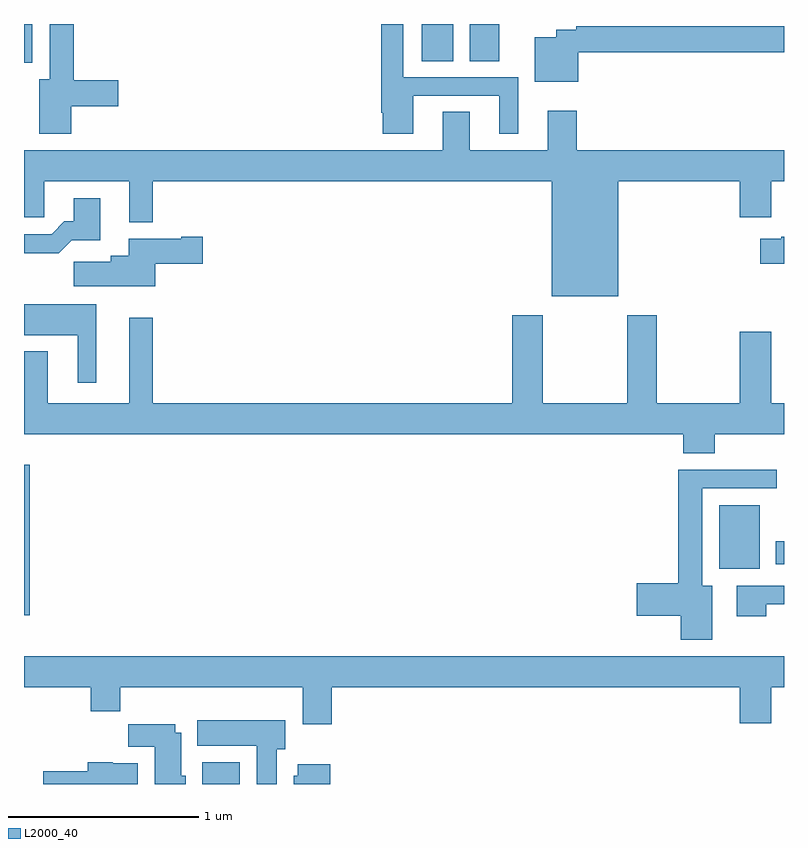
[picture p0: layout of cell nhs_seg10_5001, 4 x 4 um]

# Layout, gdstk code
import gdstk
lib = gdstk.Library(unit=1e-6, precision=1e-09)
def R(c, l, rs):  # rectangles x0, y0, x1, y1
    for r in rs: c.add(gdstk.rectangle(r[:2], r[2:], *l))
def P(c, l, *ps):  # polygons
    for p in ps: c.add(gdstk.Polygon(p, *l))
L2000_40 = (2000, 40)

nhs_seg10_5001 = lib.new_cell('nhs_seg10_5001')
R(nhs_seg10_5001, L2000_40, [(401.939,1274.5,402.136,1274.614), (401,1275.389,401.029,1276.18), (404.66,1275.632,404.872,1275.967), (404.957,1275.656,405,1275.778), (401,1278.296,401.044,1278.5), (403.094,1278.304,403.258,1278.5), (403.346,1278.304,403.501,1278.5)])
P(nhs_seg10_5001, L2000_40, [(401.248,1278.068),(401.497,1278.068),(401.497,1278.203),(401.261,1278.203),(401.261,1278.5),(401.135,1278.5),(401.135,1278.208),(401.081,1278.208),(401.081,1277.922),(401.248,1277.922)],
  [(403.048,1278.123),(403.502,1278.123),(403.502,1277.922),(403.6,1277.922),(403.6,1278.219),(402.996,1278.219),(402.996,1278.5),(402.88,1278.5),(402.88,1278.034),(402.887,1278.034),(402.887,1277.922),(403.048,1277.922)],
  [(403.918,1278.352),(405,1278.352),(405,1278.488),(403.906,1278.488),(403.906,1278.469),(403.802,1278.469),(403.802,1278.43),(403.688,1278.43),(403.688,1278.197),(403.918,1278.197)],
  [(404.128,1277.672),(404.768,1277.672),(404.768,1277.484),(404.932,1277.484),(404.932,1277.672),(405,1277.672),(405,1277.836),(403.91,1277.836),(403.91,1278.043),(403.757,1278.043),(403.757,1277.836),(403.345,1277.836),(403.345,1278.038),(403.205,1278.038),(403.205,1277.836),(401,1277.836),(401,1277.482),(401.106,1277.482),(401.106,1277.672),(401.555,1277.672),(401.555,1277.456),(401.677,1277.456),(401.677,1277.672),(403.778,1277.672),(403.778,1277.066),(404.128,1277.066)],
  [(401.252,1277.363),(401.401,1277.363),(401.401,1277.584),(401.261,1277.584),(401.261,1277.461),(401.212,1277.461),(401.145,1277.394),(401,1277.394),(401,1277.294),(401.183,1277.294)],
  [(405,1277.379),(404.986,1277.379),(404.986,1277.371),(404.874,1277.371),(404.874,1277.237),(405,1277.237)],
  [(401.692,1277.237),(401.941,1277.237),(401.941,1277.379),(401.828,1277.379),(401.828,1277.371),(401.552,1277.371),(401.552,1277.281),(401.456,1277.281),(401.456,1277.249),(401.262,1277.249),(401.262,1277.12),(401.692,1277.12)],
  [(401.38,1277.026),(401,1277.026),(401,1276.862),(401.282,1276.862),(401.282,1276.611),(401.38,1276.611)],
  [(404.471,1276.241),(404.636,1276.241),(404.636,1276.34),(405,1276.34),(405,1276.504),(404.932,1276.504),(404.932,1276.879),(404.768,1276.879),(404.768,1276.504),(404.331,1276.504),(404.331,1276.966),(404.176,1276.966),(404.176,1276.504),(403.731,1276.504),(403.731,1276.966),(403.571,1276.966),(403.571,1276.504),(401.677,1276.504),(401.677,1276.954),(401.555,1276.954),(401.555,1276.504),(401.125,1276.504),(401.125,1276.777),(401,1276.777),(401,1276.34),(404.471,1276.34)],
  [(404.623,1275.544),(404.569,1275.544),(404.569,1276.056),(404.962,1276.056),(404.962,1276.154),(404.444,1276.154),(404.444,1275.557),(404.226,1275.557),(404.226,1275.386),(404.456,1275.386),(404.456,1275.258),(404.623,1275.258)],
  [(404.907,1275.447),(405,1275.447),(405,1275.543),(404.751,1275.543),(404.751,1275.384),(404.907,1275.384)],
  [(402.62,1275.008),(404.768,1275.008),(404.768,1274.82),(404.932,1274.82),(404.932,1275.008),(405,1275.008),(405,1275.172),(401,1275.172),(401,1275.008),(401.351,1275.008),(401.351,1274.884),(401.507,1274.884),(401.507,1275.008),(402.467,1275.008),(402.467,1274.814),(402.62,1274.814)],
  [(402.331,1274.682),(402.376,1274.682),(402.376,1274.836),(401.912,1274.836),(401.912,1274.702),(402.224,1274.702),(402.224,1274.5),(402.331,1274.5)],
  [(401.851,1274.544),(401.827,1274.544),(401.827,1274.77),(401.797,1274.77),(401.797,1274.815),(401.548,1274.815),(401.548,1274.696),(401.687,1274.696),(401.687,1274.5),(401.851,1274.5)],
  [(401.599,1274.608),(401.466,1274.608),(401.466,1274.614),(401.336,1274.614),(401.336,1274.568),(401.1,1274.568),(401.1,1274.5),(401.599,1274.5)],
  [(402.611,1274.605),(402.44,1274.605),(402.44,1274.544),(402.419,1274.544),(402.419,1274.5),(402.611,1274.5)])

lib.write_gds('nhs_seg10_5001.gds')
